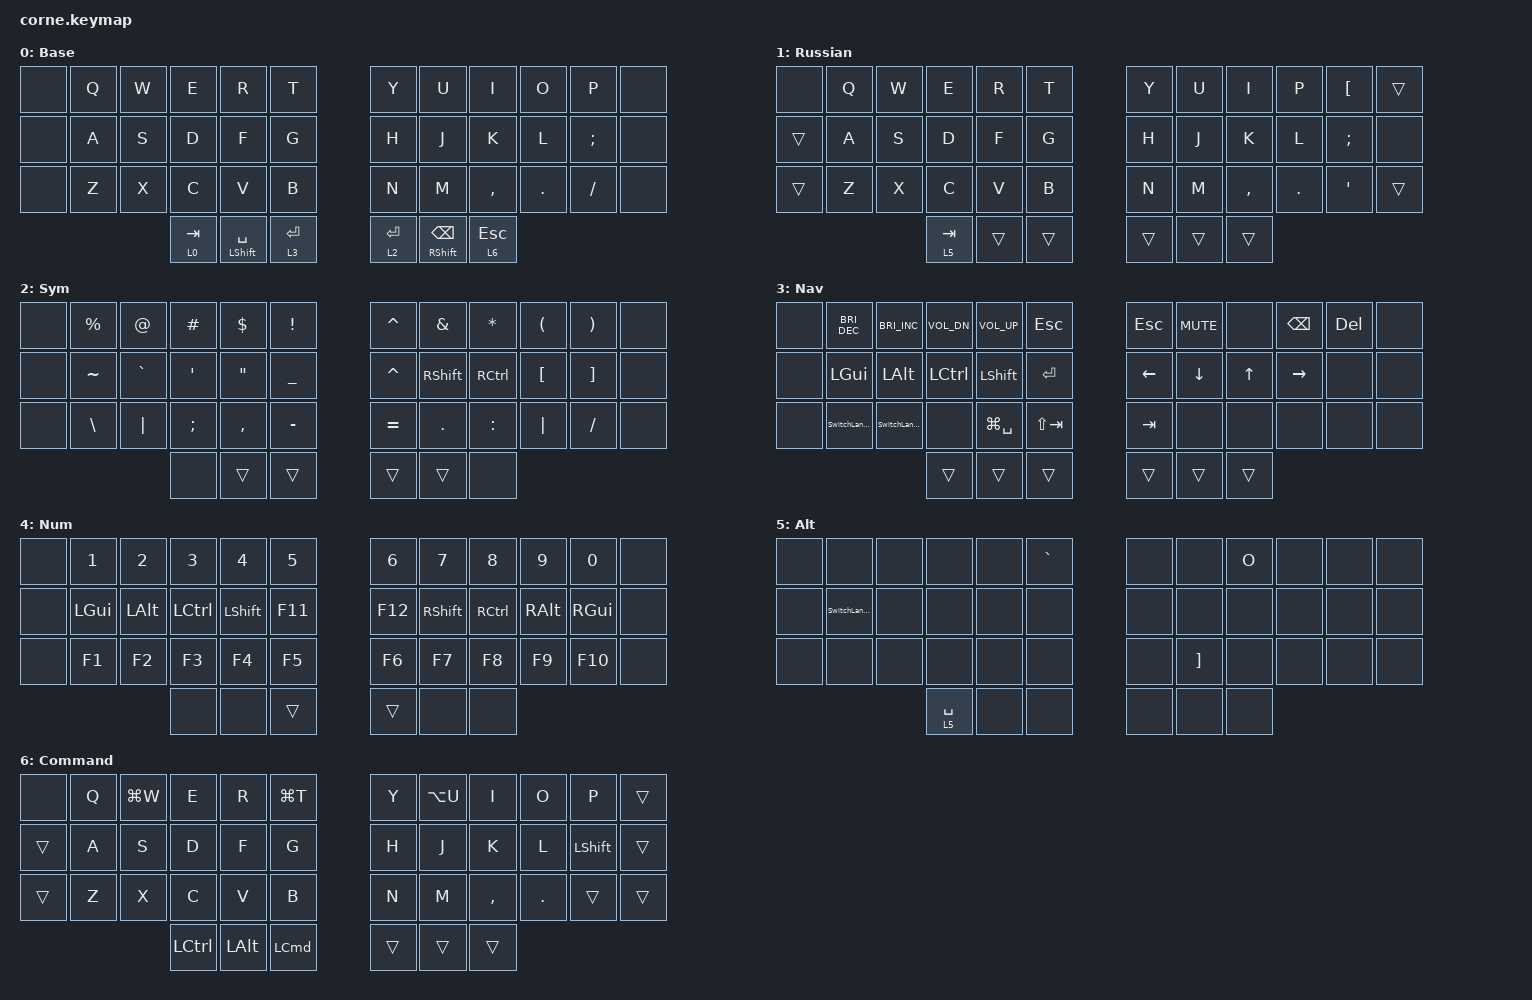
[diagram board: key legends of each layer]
/*
 * Copyright (c) 2020 The ZMK Contributors
 *
 * SPDX-License-Identifier: MIT
 */

#include <behaviors.dtsi>
#include <dt-bindings/zmk/keys.h>

#define DEF 0
#define LWR 1
#define RSE 2
#define ADJ 3

&lt {
    quick_tap_ms = <220>;
};

&mt {
    quick_tap_ms = <220>;
};

/ {
    macros {
        numdot: numdot {
            label = "ZM_numdot";
            compatible = "zmk,behavior-macro";
            #binding-cells = <0>;
            wait-ms = <40>;
            tap-ms = <40>;
            bindings =
                <&macro_press>,
                <&kp LALT>,
                <&macro_tap>,
                <&kp KP_N4 &kp KP_N6>,
                <&macro_release>,
                <&kp LALT>;
        };

        grtsgn: grtsgn {
            label = "ZM_grtsgn";
            compatible = "zmk,behavior-macro";
            #binding-cells = <0>;
            wait-ms = <40>;
            tap-ms = <40>;
            bindings =
                <&macro_press>,
                <&kp LALT>,
                <&macro_tap>,
                <&kp KP_N6 &kp KP_N2>,
                <&macro_release>,
                <&kp LALT>;
        };

        SwitchLangRu: SwitchLangRu {
            compatible = "zmk,behavior-macro";
            #binding-cells = <0>;
            bindings = <&to 1 &kp LC(SPACE)>;
            label = "SWITCHLANGRU";
        };

        SwitchLangEn: SwitchLangEn {
            compatible = "zmk,behavior-macro";
            #binding-cells = <0>;
            bindings = <&to 0 &kp LC(SPACE)>;
            label = "SWITCHLANGEN";
        };
    };
};

/ {
    combos {
        compatible = "zmk,combos";

        MACOS_CP {
            bindings = <&kp LG(C)>;
            key-positions = <27 26>;
            layers = <0 1>;
        };

        MACOS_PASTE {
            bindings = <&kp LG(V)>;
            key-positions = <26 28>;
            layers = <0 1>;
        };

        GOBACK {
            bindings = <&kp LG(Z)>;
            key-positions = <26 25>;
            layers = <0 1>;
        };

        UNDO_GOBACK {
            bindings = <&kp LG(Z)>;
            key-positions = <26 25 27>;
            layers = <0 1>;
        };
    };

    keymap {
        compatible = "zmk,keymap";

        Base {
            // ------------------------------------------------------------------------------------------------
            //| LGUI/] |  Q  |  W  |  E  |  R  |  T  |   |  Y  |  U   |  I  |  O  |  P  | RGUI/[ | 
            //| CTRL/` |  A  |  S  |  D  |  F  |  G  |   |  H  |  J   |  K  |  L  |  ;  | CTRL/' |
            //| LALT/\ |  Z  |  X  |  C  |  V  |  B  |   |  N  |  M   |  ,  |  .  |  /  | RALT/- |
            //                             | RSE | SPC | LWR |   | LWR | BKSP | RSE |

            bindings = <
&none  &kp Q  &kp W  &kp E      &kp R            &kp T        &kp Y        &kp U           &kp I         &kp O    &kp P     &none
&none  &kp A  &kp S  &kp D      &kp F            &kp G        &kp H        &kp J           &kp K         &kp L    &kp SEMI  &none
&none  &kp Z  &kp X  &kp C      &kp V            &kp B        &kp N        &kp M           &kp COMMA     &kp DOT  &kp FSLH  &none
                     &lt 0 TAB  &mt LSHFT SPACE  &lt 3 RET    &lt 2 ENTER  &mt RSHFT BSPC  &lt 6 ESCAPE
            >;
        };

        Russian {
            bindings = <
&none   &kp Q  &kp W  &kp E      &kp R   &kp T     &kp Y   &kp U   &kp I      &kp P    &kp LBKT  &trans
&trans  &kp A  &kp S  &kp D      &kp F   &kp G     &kp H   &kp J   &kp K      &kp L    &kp SEMI  &none
&trans  &kp Z  &kp X  &kp C      &kp V   &kp B     &kp N   &kp M   &kp COMMA  &kp DOT  &kp APOS  &trans
                      &lt 5 TAB  &trans  &trans    &trans  &trans  &trans
            >;
        };

        Sym {
            // -----------------------------------------------------------------------------------------
            //|LGUI/CAPS |  *  |  7 |  8  |  9  |  +  |    |  !  |  @  |  #  |  $  |  %  | RGUI/F1 |
            //|CTRL/MENU |  /  |  4 |  5  |  6  |  -  |    |  ^  |  &  |  *  |  (  |  )  | CTRL/F2 |
            //|  LALT/=  |  0  |  1 |  4  |  3  |  .  |    |  ls |  F4 |  F5 |  F6 |  F7 | RALT/F3 |
            //                      | ADJ | ___ | ___ |    | ___ | ___ | ADJ |

            bindings = <
&none  &kp PERCENT    &kp AT_SIGN  &kp HASH       &kp DOLLAR         &kp EXCLAMATION    &kp CARET  &kp AMPERSAND  &kp ASTERISK  &kp LEFT_PARENTHESIS  &kp RIGHT_PARENTHESIS  &none
&none  &kp TILDE      &kp GRAVE    &kp SQT        &kp DOUBLE_QUOTES  &kp UNDERSCORE     &kp CARET  &kp RSHFT      &kp RCTRL     &kp LEFT_BRACKET      &kp RIGHT_BRACKET      &none
&none  &kp BACKSLASH  &kp PIPE     &kp SEMICOLON  &kp COMMA          &kp MINUS          &kp EQUAL  &kp DOT        &kp COLON     &kp PIPE              &kp FSLH               &none
                                   &none          &trans             &trans             &trans     &trans         &none
            >;
        };

        Nav {
            bindings = <
&none  &kp C_BRIGHTNESS_DEC  &kp C_BRIGHTNESS_INC  &kp C_VOL_DN  &kp C_VOLUME_UP  &kp ESC        &kp ESC   &kp C_MUTE  &none   &kp BSPC   &kp DEL  &none
&none  &kp LGUI              &kp LALT              &kp LCTRL     &kp LSHFT        &kp ENTER      &kp LEFT  &kp DOWN    &kp UP  &kp RIGHT  &none    &none
&none  &SwitchLangRu         &SwitchLangEn         &none         &kp LG(SPACE)    &kp LS(TAB)    &kp TAB   &none       &none   &none      &none    &none
                                                   &trans        &trans           &trans         &trans    &trans      &trans
            >;
        };

        Num {
            bindings = <
&none  &kp N1    &kp N2    &kp N3     &kp N4     &kp N5     &kp N6   &kp N7     &kp N8     &kp N9    &kp N0    &none
&none  &kp LGUI  &kp LALT  &kp LCTRL  &kp LSHFT  &kp F11    &kp F12  &kp RSHFT  &kp RCTRL  &kp RALT  &kp RGUI  &none
&none  &kp F1    &kp F2    &kp F3     &kp F4     &kp F5     &kp F6   &kp F7     &kp F8     &kp F9    &kp F10   &none
                           &none      &none      &trans     &trans   &none      &none
            >;
        };

        Alt {
            bindings = <
&none  &none          &none  &none        &none  &kp GRAVE    &none  &none              &kp O  &none  &none  &none
&none  &SwitchLangEn  &none  &none        &none  &none        &none  &none              &none  &none  &none  &none
&none  &none          &none  &none        &none  &none        &none  &kp RIGHT_BRACKET  &none  &none  &none  &none
                             &lt 5 SPACE  &none  &none        &none  &none              &none
            >;
        };

        Command {
            bindings = <
&none   &kp Q  &kp LG(W)  &kp E      &kp R         &kp LG(T)    &kp Y   &kp LA(U)  &kp I      &kp O    &kp P           &trans
&trans  &kp A  &kp S      &kp D      &kp F         &kp G        &kp H   &kp J      &kp K      &kp L    &kp LEFT_SHIFT  &trans
&trans  &kp Z  &kp X      &kp C      &kp V         &kp B        &kp N   &kp M      &kp COMMA  &kp DOT  &trans          &trans
                          &kp LCTRL  &kp LEFT_ALT  &kp LCMD     &trans  &trans     &trans
            >;
        };
    };

    conditional_layers {
        compatible = "zmk,conditional-layers";

        num {
            if-layers = <2 3>;
            then-layer = <4>;
        };
    };
};
